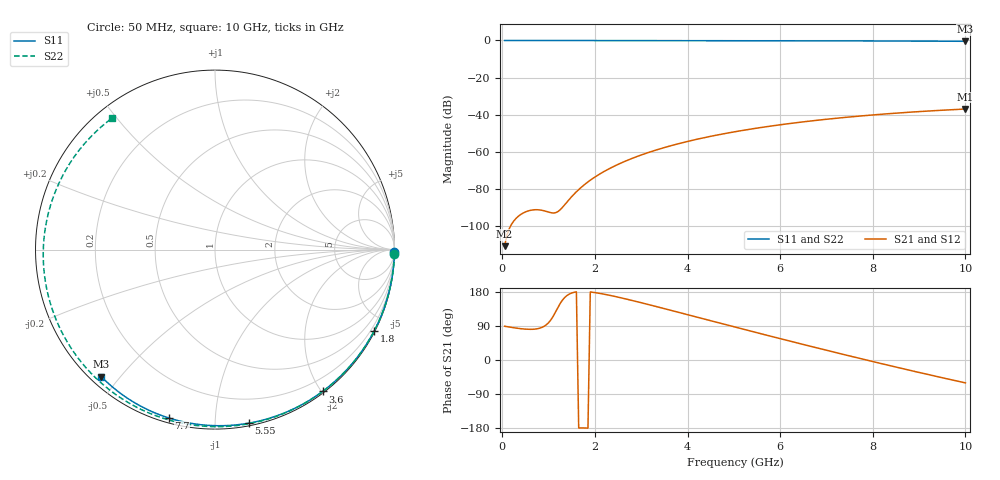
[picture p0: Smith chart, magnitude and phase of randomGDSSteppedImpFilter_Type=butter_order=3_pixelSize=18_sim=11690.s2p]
! freq	dB(S11)	phase(S11)	dB(S12)	phase(S12)
!  dB(S21)	phase(S21)	dB(S22)	phase(S22)
!S-par simulation data
#  GHz  S  DB  R 50
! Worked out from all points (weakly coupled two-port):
!   200 points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, 50 MHz to 10 GHz, reference 50 ohm
!   highest |S21| = -36.87 dB at 10 GHz (marker M1); lowest = -110.6 dB at 50 MHz (marker M2)
!   lowest |S11| = -0.4 dB at 10 GHz (marker M3), VSWR 38.90, Z = 1.54 - j22.3 ohm
!   |S11| at or under -10 dB: nowhere
!   |S22| runs from -0.6 to 0.0 dB; largest |S21 - S12| = 0
!   S11 on the Smith chart (normalised r, x): 50 MHz: open; 1.8 GHz: 0.04, -4.16; 3.6 GHz: 0.02, -2.01; 5.55 GHz: 0.02, -1.21; 7.7 GHz: 0.02, -0.76; 10 GHz: 0.03, -0.45
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0.05  -0.00 -0.8  -110.60 89.1  -110.60 89.1  -0.00 -1.4
0.4  -0.01 -6.1  -93.52 82.6  -93.52 82.6  -0.01 -10.7
0.8  -0.02 -12.1  -91.09 83.7  -91.09 83.7  -0.03 -21.4
1.2  -0.02 -18.1  -92.04 138.3  -92.04 138.3  -0.04 -31.9
1.65  -0.03 -24.8  -80.17 -179.5  -80.17 -179.5  -0.06 -43.6
1.75  -0.03 -26.3  -78.00 -179.2  -78.00 -179.2  -0.06 -46.1
1.8  -0.03 -27.0  -76.99 -179.4  -76.99 -179.4  -0.06 -47.4
2.1  -0.04 -31.4  -71.86 175.9  -71.86 175.9  -0.07 -54.9
2.5  -0.05 -37.2  -66.62 165.9  -66.62 165.9  -0.08 -64.8
2.9  -0.06 -43.0  -62.48 154.2  -62.48 154.2  -0.09 -74.4
3.4  -0.07 -50.1  -58.31 138.7  -58.31 138.7  -0.11 -86.2
3.6  -0.07 -52.8  -56.87 132.4  -56.87 132.4  -0.12 -90.8
4.3  -0.09 -62.4  -52.59 110.1  -52.59 110.1  -0.15 -106.5
5.05  -0.11 -72.4  -48.96 86.2  -48.96 86.2  -0.18 -122.7
5.55  -0.13 -78.9  -46.94 70.4  -46.94 70.4  -0.21 -133.3
6.15  -0.15 -86.5  -44.84 51.7  -44.84 51.7  -0.25 -145.8
6.7  -0.18 -93.4  -43.18 34.8  -43.18 34.8  -0.29 -157.3
7.2  -0.21 -99.4  -41.86 19.7  -41.86 19.7  -0.33 -167.8
7.7  -0.24 -105.4  -40.68 4.7  -40.68 4.7  -0.38 -178.4
8.35  -0.29 -113.0  -39.36 -14.3  -39.36 -14.3  -0.44 167.3
9.15  -0.36 -122.2  -38.01 -37.1  -38.01 -37.1  -0.53 149.0
10  -0.45 -131.9  -36.87 -60.4  -36.87 -60.4  -0.63 128.2
